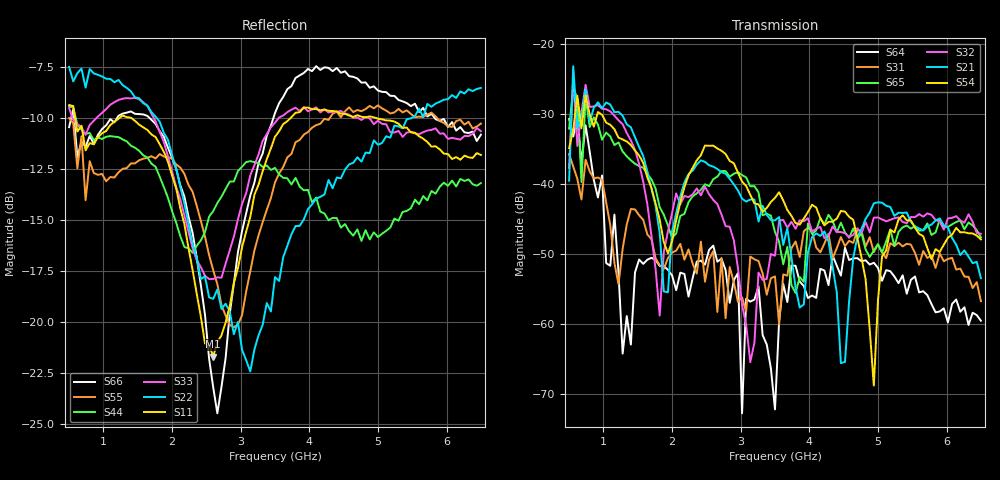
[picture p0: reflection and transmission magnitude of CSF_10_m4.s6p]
!Keysight Technologies,M9804A,MY58100912,A.14.10.03
!Date: Thursday, April 27, 2023 10:28:33
!Correction: S11(C  6-Port  )
!S12(C  6-Port  )
!S13(C  6-Port  )
!S14(C  6-Port  )
!S15(C  6-Port  )
!S16(C  6-Port  )
!S21(C  6-Port  )
!S22(C  6-Port  )
!S23(C  6-Port  )
!S24(C  6-Port  )
!S25(C  6-Port  )
!S26(C  6-Port  )
!S31(C  6-Port  )
!S32(C  6-Port  )
!S33(C  6-Port  )
!S34(C  6-Port  )
!S35(C  6-Port  )
!S36(C  6-Port  )
!S41(C  6-Port  )
!S42(C  6-Port  )
!S43(C  6-Port  )
!S44(C  6-Port  )
!S45(C  6-Port  )
!S46(C  6-Port  )
!S51(C  6-Port  )
!S52(C  6-Port  )
!S53(C  6-Port  )
!S54(C  6-Port  )
!S55(C  6-Port  )
!S56(C  6-Port  )
!S61(C  6-Port  )
!S62(C  6-Port  )
!S63(C  6-Port  )
!S64(C  6-Port  )
!S65(C  6-Port  )
!S66(C  6-Port  )
!S6P File: Measurement: :
# Hz S  RI  R 50
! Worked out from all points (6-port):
!   101 points, 500 MHz to 6.5 GHz, reference 50 ohm
!   strongest paths, dB at 500 MHz, 2 GHz, 3.5 GHz, 5 GHz, 6.5 GHz:
!     S54: -34.9, -48.2, -42.0, -56.7, -47.9
!     S21: -39.6, -46.8, -45.2, -42.6, -53.5
!     S32: -37.7, -44.2, -50.3, -44.8, -47.1
!     S65: -32.1, -47.7, -46.9, -48.6, -47.7
!     S31: -35.8, -49.8, -53.2, -48.6, -56.8
!     S64: -30.8, -53.1, -72.2, -52.0, -59.6
!   lowest |S11| = -21.7 dB at 2.6 GHz (marker M1), VSWR 1.18, Z = 42.7 + j2.1 ohm
!   |S11| at or under -10 dB: 588 MHz to 1.234 GHz (646.1 MHz wide, 70.9 % of centre); 1.405 GHz to 3.728 GHz (2.323 GHz wide, 90.5 % of centre); 4.968 GHz to end of sweep
